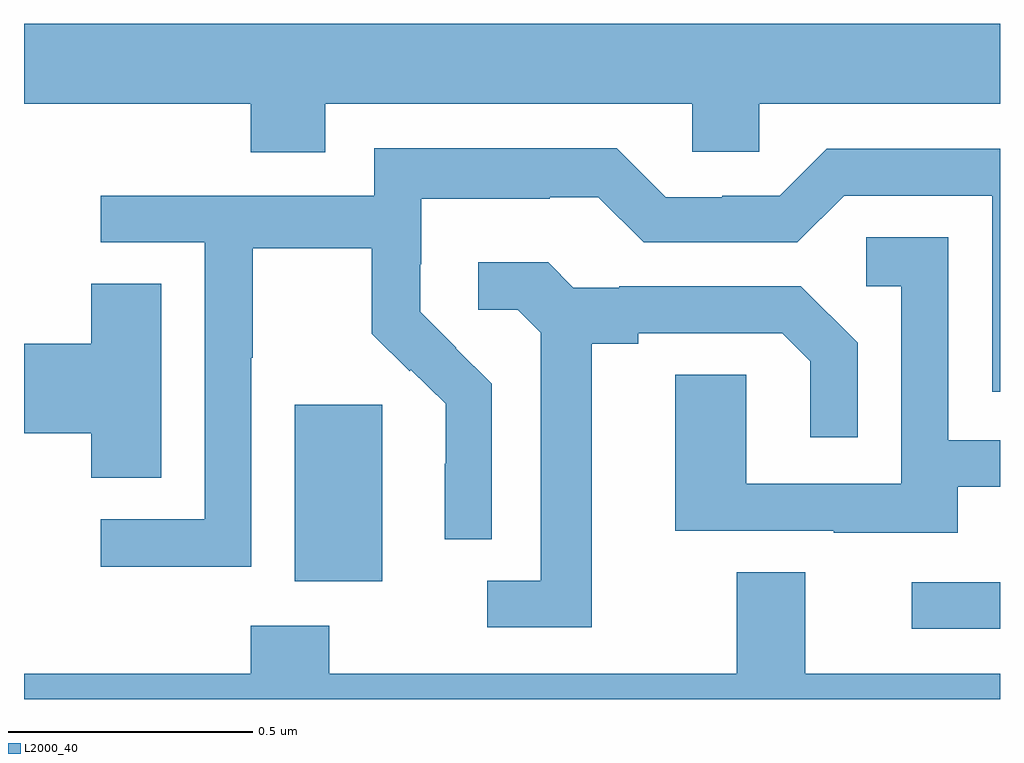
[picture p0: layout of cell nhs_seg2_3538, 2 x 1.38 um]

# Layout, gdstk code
import gdstk
lib = gdstk.Library(unit=1e-6, precision=1e-09)
def R(c, l, rs):  # rectangles x0, y0, x1, y1
    for r in rs: c.add(gdstk.rectangle(r[:2], r[2:], *l))
def P(c, l, *ps):  # polygons
    for p in ps: c.add(gdstk.Polygon(p, *l))
L2000_40 = (2000, 40)

nhs_seg2_3538 = lib.new_cell('nhs_seg2_3538')
R(nhs_seg2_3538, L2000_40, [(156.819,595.944,157,596.04), (155.555,596.042,155.734,596.403)])
P(nhs_seg2_3538, L2000_40, [(155.617,597.02),(156.369,597.02),(156.369,596.922),(156.507,596.922),(156.507,597.02),(157,597.02),(157,597.184),(155,597.184),(155,597.02),(155.465,597.02),(155.465,596.921),(155.617,596.921)],
  [(155.466,596.5),(155.469,596.5),(155.469,596.724),(155.713,596.724),(155.713,596.549),(155.79,596.472),(155.793,596.475),(155.864,596.405),(155.864,596.282),(155.862,596.282),(155.862,596.128),(155.958,596.128),(155.958,596.446),(155.885,596.519),(155.886,596.52),(155.812,596.594),(155.812,596.691),(155.814,596.691),(155.814,596.825),(156.077,596.825),(156.077,596.829),(156.177,596.829),(156.27,596.736),(156.585,596.736),(156.681,596.832),(156.984,596.832),(156.984,596.43),(157,596.43),(157,596.928),(156.645,596.928),(156.549,596.832),(156.431,596.832),(156.431,596.829),(156.315,596.829),(156.215,596.929),(155.718,596.929),(155.718,596.832),(155.157,596.832),(155.157,596.736),(155.37,596.736),(155.37,596.169),(155.157,596.169),(155.157,596.071),(155.466,596.071)],
  [(156.913,596.235),(157,596.235),(157,596.331),(156.894,596.331),(156.894,596.747),(156.726,596.747),(156.726,596.646),(156.798,596.646),(156.798,596.241),(156.48,596.241),(156.48,596.465),(156.335,596.465),(156.335,596.145),(156.659,596.145),(156.659,596.141),(156.913,596.141)],
  [(156.163,596.528),(156.259,596.528),(156.259,596.55),(156.554,596.55),(156.611,596.493),(156.611,596.337),(156.708,596.337),(156.708,596.53),(156.592,596.646),(156.22,596.646),(156.22,596.643),(156.126,596.643),(156.074,596.695),(155.931,596.695),(155.931,596.598),(156.012,596.598),(156.059,596.551),(156.059,596.043),(155.949,596.043),(155.949,595.947),(156.163,595.947)],
  [(155.281,596.651),(155.138,596.651),(155.138,596.528),(155,596.528),(155,596.345),(155.138,596.345),(155.138,596.254),(155.281,596.254)],
  [(157,595.852),(156.601,595.852),(156.601,596.06),(156.461,596.06),(156.461,595.852),(155.625,595.852),(155.625,595.951),(155.465,595.951),(155.465,595.852),(155,595.852),(155,595.8),(157,595.8)])

lib.write_gds('nhs_seg2_3538.gds')
